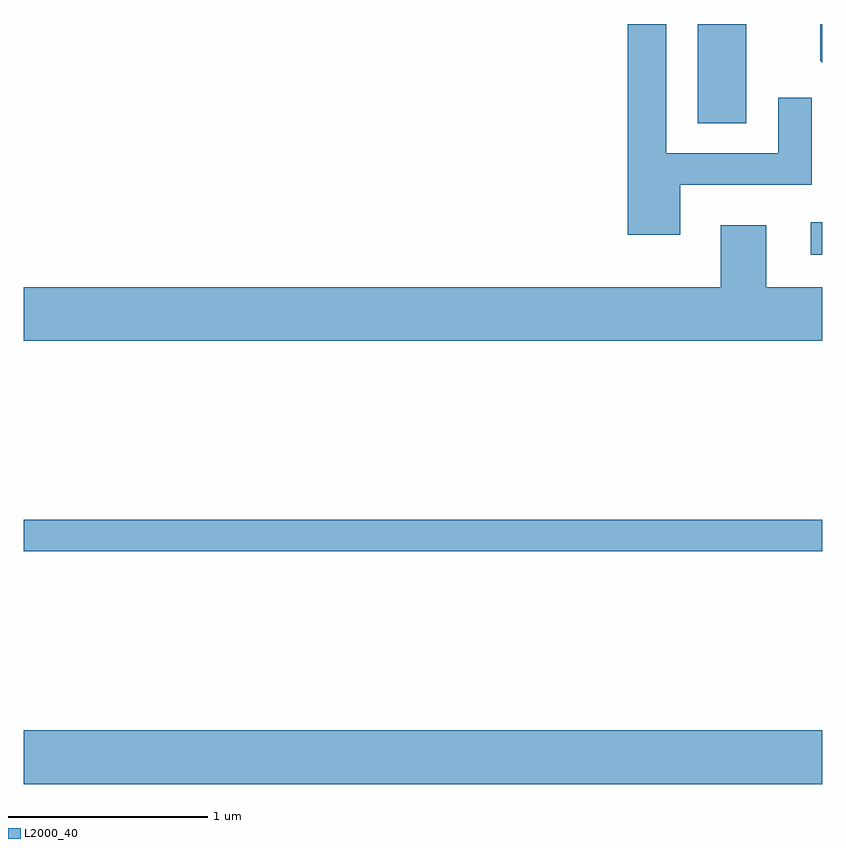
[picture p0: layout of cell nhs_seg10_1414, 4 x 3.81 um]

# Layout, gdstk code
import gdstk
lib = gdstk.Library(unit=1e-6, precision=1e-09)
def R(c, l, rs):  # rectangles x0, y0, x1, y1
    for r in rs: c.add(gdstk.rectangle(r[:2], r[2:], *l))
def P(c, l, *ps):  # polygons
    for p in ps: c.add(gdstk.Polygon(p, *l))
L2000_40 = (2000, 40)

nhs_seg10_1414 = lib.new_cell('nhs_seg10_1414')
R(nhs_seg10_1414, L2000_40, [(225.611,2202.716,229.611,2202.984), (225.611,2203.881,229.611,2204.039), (229.553,2205.366,229.611,2205.529), (228.986,2206.026,229.229,2206.522)])
P(nhs_seg10_1414, L2000_40, [(229.611,2206.522),(229.601,2206.522),(229.601,2206.339),(229.611,2206.329)],
  [(228.899,2205.716),(229.559,2205.716),(229.559,2206.153),(229.391,2206.153),(229.391,2205.874),(228.829,2205.874),(228.829,2206.522),(228.636,2206.522),(228.636,2205.466),(228.899,2205.466)],
  [(229.611,2205.204),(229.329,2205.204),(229.329,2205.514),(229.101,2205.514),(229.101,2205.204),(225.611,2205.204),(225.611,2204.936),(229.611,2204.936)])

lib.write_gds('nhs_seg10_1414.gds')
